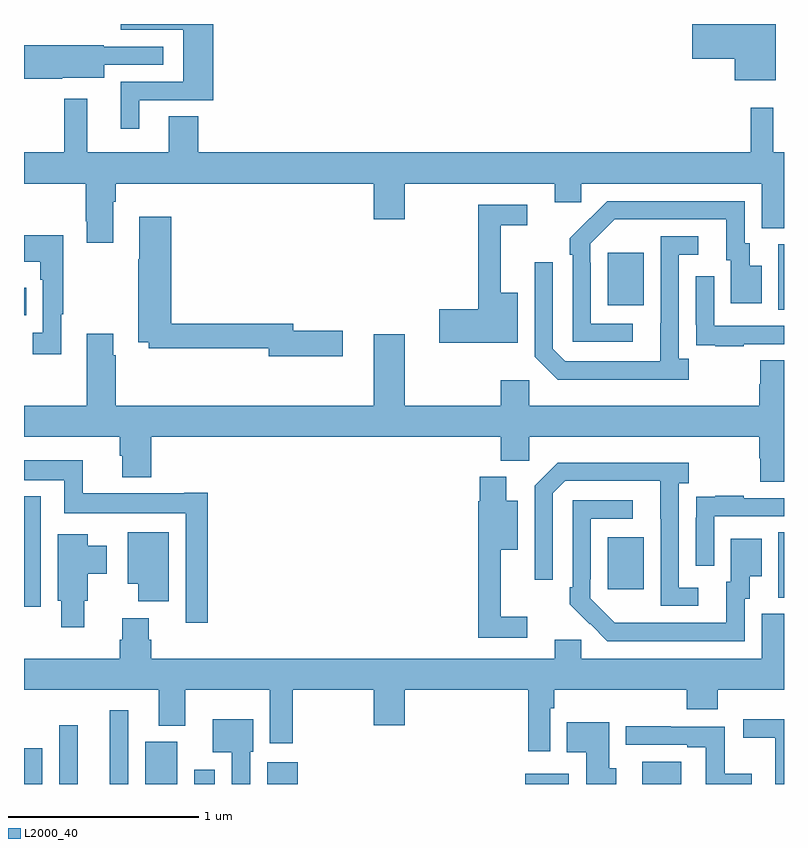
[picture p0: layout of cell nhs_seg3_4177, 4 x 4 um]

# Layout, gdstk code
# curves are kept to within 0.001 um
import gdstk
lib = gdstk.Library(unit=1e-6, precision=1e-09)
def R(c, l, rs):  # rectangles x0, y0, x1, y1
    for r in rs: c.add(gdstk.rectangle(r[:2], r[2:], *l))
def P(c, l, *ps):  # polygons
    for p in ps: c.add(gdstk.Polygon(p, *l))
L2000_40 = (2000, 40)

nhs_seg3_4177 = lib.new_cell('nhs_seg3_4177')
R(nhs_seg3_4177, L2000_40, [(331,720.4,331.096,720.589), (331.185,720.4,331.282,720.709), (331.451,720.4,331.548,720.787), (331.637,720.4,331.807,720.622), (331.895,720.4,332.005,720.475), (332.279,720.4,332.441,720.514), (333.638,720.4,333.868,720.454), (334.253,720.4,334.459,720.517), (331,721.332,331.089,721.915), (334.97,721.381,335,721.724), (334.073,721.425,334.261,721.699), (331,722.866,331.013,723.013), (334.97,722.896,335,723.24), (334.073,722.921,334.261,723.196)])
P(nhs_seg3_4177, L2000_40, [(334.957,724.4),(334.518,724.4),(334.518,724.217),(334.742,724.217),(334.742,724.103),(334.957,724.103)],
  [(331.606,723.999),(331.997,723.999),(331.997,724.4),(331.508,724.4),(331.508,724.37),(331.838,724.37),(331.838,724.095),(331.508,724.095),(331.508,723.849),(331.606,723.849)],
  [(331.2,724.118),(331.423,724.118),(331.423,724.185),(331.732,724.185),(331.732,724.281),(331.419,724.281),(331.419,724.289),(331,724.289),(331,724.111),(331.2,724.111)],
  [(331.471,723.464),(331.484,723.464),(331.484,723.56),(332.84,723.56),(332.84,723.372),(333.004,723.372),(333.004,723.56),(333.794,723.56),(333.794,723.462),(333.933,723.462),(333.933,723.56),(334.883,723.56),(334.883,723.325),(335,723.325),(335,723.724),(334.943,723.724),(334.943,723.958),(334.825,723.958),(334.825,723.724),(331.916,723.724),(331.916,723.914),(331.763,723.914),(331.763,723.724),(331.333,723.724),(331.333,724.006),(331.212,724.006),(331.212,723.724),(331,723.724),(331,723.56),(331.324,723.56),(331.324,723.361),(331.331,723.361),(331.331,723.249),(331.471,723.249)],
  [(334.204,722.823),(333.984,722.823),(333.984,723.143),(333.981,723.143),(333.981,723.243),(334.11,723.372),(334.697,723.372),(334.697,723.156),(334.721,723.156),(334.721,722.931),(334.882,722.931),(334.882,723.127),(334.819,723.127),(334.819,723.246),(334.794,723.246),(334.794,723.468),(334.07,723.468),(333.873,723.273),(333.873,723.185),(333.888,723.185),(333.888,722.727),(334.204,722.727)],
  [(333.598,722.986),(333.509,722.986),(333.509,723.342),(333.649,723.342),(333.649,723.45),(333.391,723.45),(333.391,722.9),(333.186,722.9),(333.186,722.722),(333.598,722.722)],
  [(332.677,722.786),(332.416,722.786),(332.416,722.822),(331.775,722.822),(331.775,723.385),(331.607,723.385),(331.607,723.161),(331.6,723.161),(331.6,722.726),(331.656,722.726),(331.656,722.694),(332.288,722.694),(332.288,722.651),(332.677,722.651)],
  [(331.195,722.873),(331.207,722.873),(331.207,723.289),(331,723.289),(331,723.149),(331.086,723.149),(331.086,723.053),(331.098,723.053),(331.098,722.774),(331.047,722.774),(331.047,722.661),(331.195,722.661)],
  [(334.498,722.638),(334.446,722.638),(334.446,723.186),(334.549,723.186),(334.549,723.282),(334.35,723.282),(334.349,722.625),(333.849,722.625),(333.783,722.691),(333.783,723.145),(333.687,723.145),(333.687,722.649),(333.808,722.528),(334.498,722.528)],
  [(334.787,722.715),(335,722.715),(335,722.811),(334.632,722.811),(334.632,723.073),(334.536,723.073),(334.536,722.818),(334.537,722.818),(334.537,722.709),(334.639,722.709),(334.639,722.703),(334.787,722.703)],
  [(335,722.63),(334.876,722.63),(334.876,722.505),(334.871,722.505),(334.871,722.392),(333.66,722.392),(333.66,722.524),(333.509,722.524),(333.509,722.392),(333.004,722.392),(333.004,722.767),(332.84,722.767),(332.84,722.392),(331.484,722.392),(331.484,722.657),(331.471,722.657),(331.471,722.77),(331.331,722.77),(331.331,722.392),(331,722.392),(331,722.228),(331.505,722.228),(331.505,722.127),(331.517,722.127),(331.517,722.015),(331.67,722.015),(331.67,722.228),(333.509,722.228),(333.509,722.102),(333.66,722.102),(333.66,722.228),(334.871,722.228),(334.871,722.115),(334.876,722.115),(334.876,721.99),(335,721.99)],
  [(331.967,721.933),(331.844,721.933),(331.844,721.93),(331.31,721.93),(331.31,722.104),(331,722.104),(331,722),(331.212,722),(331.212,721.826),(331.851,721.826),(331.851,721.248),(331.967,721.248)],
  [(334.549,721.434),(334.446,721.434),(334.446,721.982),(334.498,721.982),(334.498,722.092),(333.808,722.092),(333.687,721.971),(333.687,721.476),(333.783,721.476),(333.783,721.929),(333.849,721.995),(334.349,721.995),(334.35,721.338),(334.549,721.338)],
  [(333.649,721.279),(333.509,721.279),(333.509,721.634),(333.598,721.634),(333.598,721.891),(333.538,721.891),(333.538,722.017),(333.398,722.017),(333.398,721.887),(333.391,721.887),(333.391,721.17),(333.649,721.17)],
  [(334.632,721.809),(335,721.809),(335,721.905),(334.787,721.905),(334.787,721.918),(334.639,721.918),(334.639,721.911),(334.537,721.911),(334.537,721.802),(334.536,721.802),(334.536,721.548),(334.632,721.548)],
  [(334.794,721.374),(334.819,721.374),(334.819,721.493),(334.882,721.493),(334.882,721.69),(334.721,721.69),(334.721,721.464),(334.697,721.464),(334.697,721.248),(334.11,721.249),(333.981,721.377),(333.981,721.477),(333.984,721.477),(333.984,721.797),(334.204,721.797),(334.204,721.893),(333.888,721.893),(333.888,721.435),(333.873,721.435),(333.873,721.347),(334.07,721.152),(334.794,721.152)],
  [(331.762,721.726),(331.547,721.726),(331.547,721.454),(331.601,721.454),(331.601,721.361),(331.762,721.361)],
  [(331.318,721.365),(331.336,721.365),(331.336,721.507),(331.435,721.507),(331.435,721.654),(331.336,721.654),(331.336,721.714),(331.178,721.714),(331.178,721.365),(331.196,721.365),(331.196,721.224),(331.318,721.224)],
  [(333.771,720.8),(333.791,720.8),(333.791,720.896),(334.487,720.896),(334.487,720.794),(334.652,720.794),(334.652,720.896),(335,720.896),(335,721.296),(334.883,721.296),(334.883,721.06),(333.933,721.06),(333.933,721.158),(333.794,721.158),(333.794,721.06),(331.67,721.06),(331.67,721.158),(331.657,721.158),(331.657,721.273),(331.517,721.273),(331.517,721.158),(331.505,721.158),(331.505,721.06),(331,721.06),(331,720.896),(331.709,720.896),(331.709,720.707),(331.849,720.707),(331.849,720.896),(332.294,720.896),(332.294,720.615),(332.415,720.615),(332.415,720.896),(332.84,720.896),(332.84,720.708),(333.004,720.708),(333.004,720.896),(333.655,720.896),(333.655,720.573),(333.771,720.573)],
  [(332.19,720.57),(332.206,720.57),(332.206,720.742),(331.994,720.742),(331.994,720.566),(332.094,720.566),(332.094,720.4),(332.19,720.4)],
  [(335,720.742),(334.785,720.742),(334.785,720.644),(334.955,720.644),(334.955,720.4),(335,720.4)],
  [(334.117,720.483),(334.081,720.483),(334.081,720.724),(333.856,720.724),(333.856,720.566),(333.959,720.566),(333.959,720.4),(334.117,720.4)],
  [(334.831,720.454),(334.688,720.454),(334.688,720.702),(334.403,720.702),(334.403,720.704),(334.166,720.704),(334.166,720.606),(334.49,720.606),(334.49,720.594),(334.587,720.594),(334.587,720.4),(334.831,720.4)])

lib.write_gds('nhs_seg3_4177.gds')
